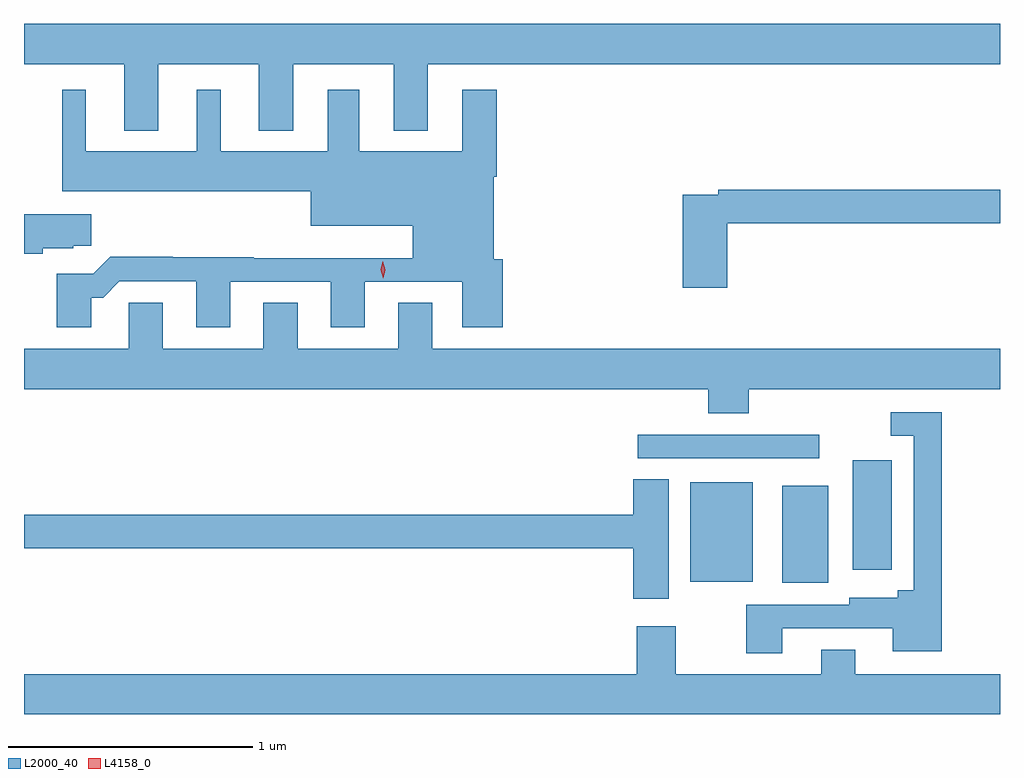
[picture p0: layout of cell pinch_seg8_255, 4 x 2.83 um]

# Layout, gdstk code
import gdstk
lib = gdstk.Library(unit=1e-6, precision=1e-09)
def R(c, l, rs):  # rectangles x0, y0, x1, y1
    for r in rs: c.add(gdstk.rectangle(r[:2], r[2:], *l))
def P(c, l, *ps):  # polygons
    for p in ps: c.add(gdstk.Polygon(p, *l))
L2000_40 = (2000, 40)
L4158_0 = (4158, 0)

pinch_seg8_255 = lib.new_cell('pinch_seg8_255')
R(pinch_seg8_255, L2000_40, [(768.692,1119.701,768.88,1120.099), (768.314,1119.707,768.571,1120.114), (768.98,1119.756,769.141,1120.204), (768.099,1120.212,768.844,1120.308)])
P(pinch_seg8_255, L2000_40, [(766.135,1121.828),(766.547,1121.828),(766.547,1121.555),(766.687,1121.555),(766.687,1121.828),(767.099,1121.828),(767.099,1121.555),(767.239,1121.555),(767.239,1121.828),(769.584,1121.828),(769.584,1121.992),(765.584,1121.992),(765.584,1121.828),(765.995,1121.828),(765.995,1121.555),(766.135,1121.555)],
  [(765.859,1120.871),(765.908,1120.871),(765.975,1120.938),(766.289,1120.938),(766.289,1120.749),(766.429,1120.749),(766.429,1120.935),(766.841,1120.935),(766.841,1120.749),(766.981,1120.749),(766.981,1120.935),(767.381,1120.935),(767.381,1120.749),(767.546,1120.749),(767.546,1121.028),(767.509,1121.028),(767.509,1121.366),(767.522,1121.366),(767.522,1121.722),(767.381,1121.722),(767.381,1121.47),(766.957,1121.47),(766.957,1121.722),(766.829,1121.722),(766.829,1121.47),(766.39,1121.47),(766.39,1121.722),(766.292,1121.722),(766.292,1121.47),(765.838,1121.47),(765.838,1121.722),(765.74,1121.722),(765.74,1121.306),(766.76,1121.306),(766.76,1121.165),(767.177,1121.165),(767.177,1121.032),(766.525,1121.032),(766.525,1121.036),(766.193,1121.036),(766.193,1121.039),(765.938,1121.039),(765.867,1120.968),(765.719,1120.968),(765.719,1120.749),(765.859,1120.749)],
  [(768.467,1121.176),(769.584,1121.176),(769.584,1121.312),(768.43,1121.312),(768.43,1121.292),(768.284,1121.292),(768.284,1120.911),(768.467,1120.911)],
  [(765.66,1121.072),(765.786,1121.072),(765.786,1121.083),(765.859,1121.083),(765.859,1121.212),(765.584,1121.212),(765.584,1121.051),(765.66,1121.051)],
  [(768.554,1120.496),(769.584,1120.496),(769.584,1120.66),(767.257,1120.66),(767.257,1120.85),(767.117,1120.85),(767.117,1120.66),(766.705,1120.66),(766.705,1120.85),(766.565,1120.85),(766.565,1120.66),(766.153,1120.66),(766.153,1120.85),(766.014,1120.85),(766.014,1120.66),(765.584,1120.66),(765.584,1120.496),(768.389,1120.496),(768.389,1120.397),(768.554,1120.397)],
  [(768.691,1119.516),(769.145,1119.516),(769.145,1119.422),(769.346,1119.422),(769.346,1120.401),(769.137,1120.401),(769.137,1120.305),(769.23,1120.305),(769.23,1119.671),(769.164,1119.671),(769.164,1119.64),(768.966,1119.64),(768.966,1119.612),(768.544,1119.612),(768.544,1119.414),(768.691,1119.414)],
  [(768.226,1120.127),(768.08,1120.127),(768.08,1119.98),(765.584,1119.98),(765.584,1119.844),(768.08,1119.844),(768.08,1119.636),(768.226,1119.636)],
  [(769.584,1119.328),(768.991,1119.328),(768.991,1119.427),(768.851,1119.427),(768.851,1119.328),(768.255,1119.328),(768.255,1119.523),(768.095,1119.523),(768.095,1119.328),(765.584,1119.328),(765.584,1119.164),(769.584,1119.164)])
P(pinch_seg8_255, L4158_0, [(767.057,1120.95),(767.057,1120.95),(767.046,1120.984),(767.054,1121.02),(767.054,1121.02),(767.054,1121.02),(767.065,1120.985),(767.057,1120.95)])

lib.write_gds('pinch_seg8_255.gds')
